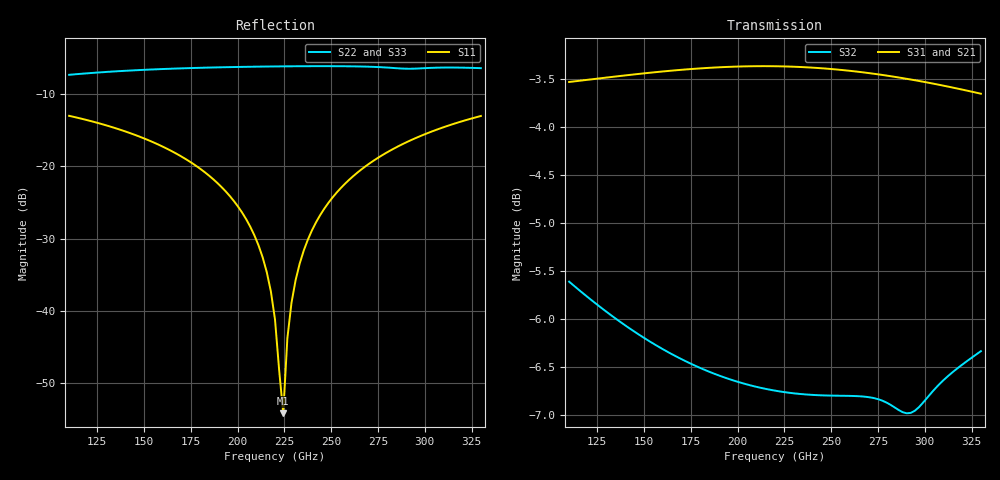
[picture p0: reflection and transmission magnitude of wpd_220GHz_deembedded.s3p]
! Created with skrf 2.2.0 (http://scikit-rf.org).
# GHz S DB R 50.0
! Port[1] = P1
! Port[2] = P2
! Port[3] = P3
!freq dBS11 angS11 dBS12 angS12 dBS13 angS13
! dBS21 angS21 dBS22 angS22 dBS23 angS23
! dBS31 angS31 dBS32 angS32 dBS33 angS33
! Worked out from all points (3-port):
!   101 points, 110 GHz to 330 GHz, reference 50 ohm
!   strongest paths, dB at 110 GHz, 165 GHz, 220 GHz, 275 GHz, 330 GHz:
!     S31: -3.5, -3.4, -3.4, -3.4, -3.6
!     S21: -3.5, -3.4, -3.4, -3.5, -3.7
!     S32: -5.6, -6.4, -6.7, -6.8, -6.3
!   lowest |S11| = -54.1 dB at 224.4 GHz (marker M1), VSWR 1.00, Z = 50.2 - j0.116 ohm
!   |S11| at or under -10 dB: start of sweep to end of sweep
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110  -13.02 138.9  -3.53 -42.7  -3.53 -42.6
     -3.53 -42.7  -7.35 53.0  -5.61 -96.1
     -3.53 -42.6  -5.61 -96.1  -7.38 53.1
191.4  -22.86 107.8  -3.39 -75.7  -3.37 -75.6
       -3.39 -75.7  -6.31 8.4  -6.60 -156.7
       -3.37 -75.6  -6.60 -156.7  -6.34 8.4
211.2  -30.93 98.4  -3.38 -83.9  -3.36 -83.9
       -3.38 -83.9  -6.22 -0.4  -6.71 -171.0
       -3.36 -83.9  -6.71 -171.0  -6.26 -0.4
220  -41.18 88.4  -3.38 -87.6  -3.36 -87.5
     -3.38 -87.6  -6.20 -4.3  -6.75 -177.3
     -3.36 -87.5  -6.75 -177.3  -6.23 -4.2
224.4  -54.14 -36.0  -3.38 -89.4  -3.37 -89.4
       -3.38 -89.4  -6.18 -6.1  -6.76 179.5
       -3.37 -89.4  -6.76 179.5  -6.22 -6.1
226.6  -43.79 -71.6  -3.38 -90.3  -3.37 -90.3
       -3.38 -90.3  -6.18 -7.1  -6.77 177.9
       -3.37 -90.3  -6.77 177.9  -6.21 -7.0
231  -35.75 -81.1  -3.39 -92.2  -3.37 -92.1
     -3.39 -92.2  -6.17 -9.0  -6.78 174.7
     -3.37 -92.1  -6.78 174.7  -6.21 -8.9
246.4  -25.83 -90.5  -3.40 -98.6  -3.39 -98.6
       -3.40 -98.6  -6.16 -15.6  -6.80 163.6
       -3.39 -98.6  -6.80 163.6  -6.19 -15.5
279.4  -18.14 -104.1  -3.48 -112.3  -3.46 -112.3
       -3.48 -112.3  -6.34 -30.0  -6.87 139.2
       -3.46 -112.3  -6.87 139.2  -6.38 -29.9
330  -13.04 -123.5  -3.67 -133.0  -3.65 -133.0
     -3.67 -133.0  -6.43 -52.1  -6.34 104.1
     -3.65 -133.0  -6.34 104.1  -6.48 -52.1
